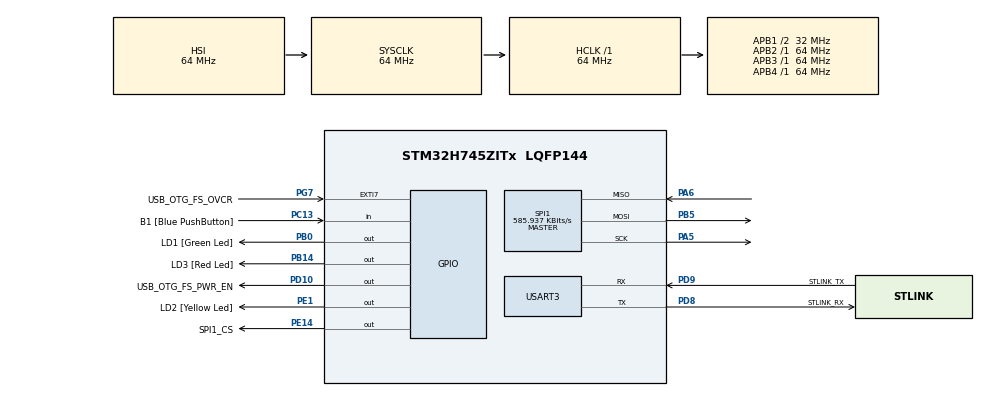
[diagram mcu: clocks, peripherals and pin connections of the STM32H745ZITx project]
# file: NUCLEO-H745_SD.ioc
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CortexM4.IPs=FATFS_M4\:I,FREERTOS_M4\:I,IWDG2\:I,RCC,WWDG2\:I,DMA,BDMA,MDMA,NVIC2\:I,USART3,ETH,DEBUG,PDM2PCM_M4\:I,PWR,RESMGR_UTILITY,SYS_M4\:I,USB_DEVICE_M4\:I,USB_HOST_M4\:I,CORTEX_M4\:I,OPENAMP_M4\:I,VREFBUF,SPI1
CortexM7.IPs=FATFS_M7\:I,FREERTOS_M7\:I,IWDG1\:I,RCC\:I,WWDG1\:I,DMA\:I,BDMA\:I,MDMA\:I,NVIC1\:I,SYS\:I,USART3\:I,USB_OTG_FS\:I,ETH\:I,CORTEX_M7\:I,DEBUG\:I,PDM2PCM_M7\:I,PWR\:I,RESMGR_UTILITY\:I,USB_DEVICE_M7\:I,USB_HOST_M7\:I,OPENAMP_M7\:I,VREFBUF\:I,SPI1\:I
FATFS_M7._MAX_SS=4096
FATFS_M7._USE_LFN=1
Mcu.Family=STM32H7
Mcu.Name=STM32H745ZITx
Mcu.Package=LQFP144
NVIC1.PriorityGroup=NVIC_PRIORITYGROUP_4
NVIC2.PriorityGroup=NVIC_PRIORITYGROUP_4
PA1.PinAttribute=CortexM7
PA1.Signal=ETH_REF_CLK
PA11.PinAttribute=CortexM7
PA11.Signal=USB_OTG_FS_DM
PA12.PinAttribute=CortexM7
PA12.Signal=USB_OTG_FS_DP
PA2.PinAttribute=CortexM7
PA2.Signal=ETH_MDIO
PA5.Mode=Full_Duplex_Master
PA5.PinAttribute=CortexM7
PA5.Signal=SPI1_SCK
PA6.Mode=Full_Duplex_Master
PA6.PinAttribute=CortexM7
PA6.Signal=SPI1_MISO
PA7.PinAttribute=CortexM7
PA7.Signal=ETH_CRS_DV
PA8.PinAttribute=CortexM7
PA8.Signal=USB_OTG_FS_SOF
PA9.PinAttribute=CortexM7
PA9.Signal=USB_OTG_FS_VBUS
PB0.GPIO_Label=LD1 [Green Led]
PB0.PinAttribute=Free
PB0.Signal=GPIO_Output
PB13.PinAttribute=CortexM7
PB13.Signal=ETH_TXD1
PB14.GPIO_Label=LD3 [Red Led]
PB14.PinAttribute=Free
PB14.Signal=GPIO_Output
PB5.Mode=Full_Duplex_Master
PB5.PinAttribute=CortexM7
PB5.Signal=SPI1_MOSI
PC1.PinAttribute=CortexM7
PC1.Signal=ETH_MDC
PC13.GPIO_Label=B1 [Blue PushButton]
PC13.PinAttribute=Free
PC13.Signal=GPIO_Input
PC14-OSC32_IN\ (OSC32_IN).PinAttribute=CortexM7
PC14-OSC32_IN\ (OSC32_IN).Signal=RCC_OSC32_IN
PC15-OSC32_OUT\ (OSC32_OUT).PinAttribute=CortexM7
PC15-OSC32_OUT\ (OSC32_OUT).Signal=RCC_OSC32_OUT
PC4.PinAttribute=CortexM7
PC4.Signal=ETH_RXD0
PC5.PinAttribute=CortexM7
PC5.Signal=ETH_RXD1
PD10.GPIO_Label=USB_OTG_FS_PWR_EN
PD10.PinAttribute=Free
PD10.Signal=GPIO_Output
PD8.GPIO_Label=STLINK_RX
PD8.Mode=Asynchronous
PD8.PinAttribute=CortexM7
PD8.Signal=USART3_TX
PD9.GPIO_Label=STLINK_TX
PD9.Mode=Asynchronous
PD9.PinAttribute=CortexM7
PD9.Signal=USART3_RX
PE1.GPIO_Label=LD2 [Yellow Led]
PE1.PinAttribute=Free
PE1.Signal=GPIO_Output
PE14.GPIO_Label=SPI1_CS
PE14.GPIO_Speed=GPIO_SPEED_FREQ_MEDIUM
PE14.PinAttribute=Free
PE14.PinState=GPIO_PIN_SET
PE14.Signal=GPIO_Output
PG11.PinAttribute=CortexM7
PG11.Signal=ETH_TX_EN
PG13.PinAttribute=CortexM7
PG13.Signal=ETH_TXD0
PG7.GPIO_Label=USB_OTG_FS_OVCR
PG7.PinAttribute=Free
PG7.Signal=GPXTI7
PH0-OSC_IN\ (PH0).PinAttribute=CortexM7
PH0-OSC_IN\ (PH0).Signal=RCC_OSC_IN
PH1-OSC_OUT\ (PH1).PinAttribute=CortexM7
PH1-OSC_OUT\ (PH1).Signal=RCC_OSC_OUT
ProjectManager.HeapSize=M4-0x200,M7-0x200
ProjectManager.StackSize=M4-0x400,M7-0x400
ProjectManager.TargetToolchain=MDK-ARM V5.32
RCC.ADCFreq_Value=129000000
RCC.APB1Freq_Value=32000000
RCC.APB2Freq_Value=64000000
RCC.APB3Freq_Value=64000000
RCC.APB4Freq_Value=64000000
RCC.CortexFreq_Value=64000000
RCC.D2PPRE1=RCC_APB1_DIV2
RCC.DIVM1=4
RCC.DIVM3=22
RCC.DIVN1=9
RCC.DIVN3=169
RCC.DIVQ3=4
RCC.HCLKFreq_Value=64000000
RCC.PLL2FRACN=0
RCC.PLL3FRACN=0
RCC.PLLFRACN=3072
RCC.SYSCLKFreq_VALUE=64000000
RCC.SupplySource=PWR_DIRECT_SMPS_SUPPLY
RCC.USBCLockSelection=RCC_USBCLKSOURCE_PLL3
RCC.USBFreq_Value=122909090.9090909
SPI1.BaudRatePrescaler=SPI_BAUDRATEPRESCALER_128
SPI1.CalculateBaudRate=585.937 KBits/s
SPI1.DataSize=SPI_DATASIZE_8BIT
SPI1.Direction=SPI_DIRECTION_2LINES
SPI1.Mode=SPI_MODE_MASTER
SPI1.VirtualType=VM_MASTER
USART3.VirtualMode-Asynchronous=VM_ASYNC
VP_FATFS_M7_VS_Generic.Mode=User_defined
VP_SYS_M4_VS_Systick.Mode=SysTick
board=NUCLEO-H745ZI-Q

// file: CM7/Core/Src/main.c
/* USER CODE BEGIN Header */
/**
  ******************************************************************************
  * @file           : main.c
  * @brief          : Main program body
  ******************************************************************************
  * @attention
  *
  * Copyright (c) 2024 STMicroelectronics.
  * All rights reserved.
  *
  * This software is licensed under terms that can be found in the LICENSE file
  * in the root directory of this software component.
  * If no LICENSE file comes with this software, it is provided AS-IS.
  *
  ******************************************************************************
  */
/* USER CODE END Header */
#include "main.h"
#include "fatfs.h"
#include "fatfs_sd.h"
#include "string.h"
#include "stdio.h"

/* USER CODE BEGIN PD */

//SPI_HandleTypeDef hspi1;
FATFS fs;
FATFS *pfs;
FIL fil;
FRESULT fres;
DWORD fre_clust;
uint32_t totalSpace, freeSpace;
char buffer[100];

#ifndef HSEM_ID_0
#define HSEM_ID_0 (0U) /* HW semaphore 0*/
#endif
/* USER CODE END PD */

SPI_HandleTypeDef hspi1;

UART_HandleTypeDef huart3;

void SystemClock_Config(void);
static void MX_GPIO_Init(void);
static void MX_SPI1_Init(void);
static void MX_USART3_UART_Init(void);

/* USER CODE BEGIN 0 */
void transmit_uart(char *string)
{
	uint8_t len = strlen(string);
	HAL_UART_Transmit(&huart3, (uint8_t*) string, len, 200);
}
/* USER CODE END 0 */

int main(void)
{
/* USER CODE BEGIN Boot_Mode_Sequence_0 */
  int32_t timeout;
/* USER CODE END Boot_Mode_Sequence_0 */

/* USER CODE BEGIN Boot_Mode_Sequence_1 */
  /* Wait until CPU2 boots and enters in stop mode or timeout*/
  timeout = 0xFFFF;
  while((__HAL_RCC_GET_FLAG(RCC_FLAG_D2CKRDY) != RESET) && (timeout-- > 0));
  if ( timeout < 0 )
  {
  Error_Handler();
  }
/* USER CODE END Boot_Mode_Sequence_1 */
  /* MCU Configuration--------------------------------------------------------*/

  /* Reset of all peripherals, Initializes the Flash interface and the Systick. */
  HAL_Init();

  /* USER CODE BEGIN Init */
// sending to UART

  /* USER CODE END Init */

  /* Configure the system clock */
  SystemClock_Config();
/* USER CODE BEGIN Boot_Mode_Sequence_2 */
/* When system initialization is finished, Cortex-M7 will release Cortex-M4 by means of
HSEM notification */
/*HW semaphore Clock enable*/
__HAL_RCC_HSEM_CLK_ENABLE();
/*Take HSEM */
HAL_HSEM_FastTake(HSEM_ID_0);
/*Release HSEM in order to notify the CPU2(CM4)*/
HAL_HSEM_Release(HSEM_ID_0,0);
/* wait until CPU2 wakes up from stop mode */
timeout = 0xFFFF;
while((__HAL_RCC_GET_FLAG(RCC_FLAG_D2CKRDY) == RESET) && (timeout-- > 0));
if ( timeout < 0 )
{
Error_Handler();
}
/* USER CODE END Boot_Mode_Sequence_2 */

  /* Initialize all configured peripherals */
  MX_GPIO_Init();
  MX_SPI1_Init();
  MX_USART3_UART_Init();
  MX_FATFS_Init();

  /* USER CODE BEGIN 2 */
	/* Waiting for the Micro SD module to initialize */
	HAL_Delay(500);

	fres = f_mount(&fs, "", 0);
	if (fres == FR_OK) {
		transmit_uart("Micro SD card is mounted successfully!\n");
	} else if (fres != FR_OK) {
		transmit_uart("Micro SD card's mount error!\n");
	}

	// FA_OPEN_APPEND opens file if it exists and if not then creates it,
	// the pointer is set at the end of the file for appending
	fres = f_open(&fil, "log-file.txt", FA_OPEN_APPEND | FA_WRITE | FA_READ);
	if (fres == FR_OK) {
		transmit_uart("File opened for reading and checking the free space.\n");
	} else if (fres != FR_OK) {
		transmit_uart("File was not opened for reading and checking the free space!\n");
	}

	fres = f_getfree("", &fre_clust, &pfs);
	totalSpace = (uint32_t) ((pfs->n_fatent - 2) * pfs->csize * 0.5);
	freeSpace = (uint32_t) (fre_clust * pfs->csize * 0.5);
	char mSz[12];
	sprintf(mSz, "%lu", freeSpace);
	if (fres == FR_OK) {
		transmit_uart("The free space is: ");
		transmit_uart(mSz);
		transmit_uart("\n");
	} else if (fres != FR_OK) {
		transmit_uart("The free space could not be determined!\n");
	}

	for (uint8_t i = 0; i < 10; i++) {
		f_puts("This text is written in the file.\n", &fil);
	}

	fres = f_close(&fil);
	if (fres == FR_OK) {
		transmit_uart("The file is closed.\n");
	} else if (fres != FR_OK) {
		transmit_uart("The file was not closed.\n");
	}

	/* Open file to read */
	fres = f_open(&fil, "log-file.txt", FA_READ);
	if (fres == FR_OK) {
		transmit_uart("File opened for reading.\n");
	} else if (fres != FR_OK) {
		transmit_uart("File was not opened for reading!\n");
	}

	while (f_gets(buffer, sizeof(buffer), &fil)) {
		char mRd[100];
		sprintf(mRd, "%s", buffer);
		transmit_uart(mRd);

	}

	/* Close file */
	fres = f_close(&fil);
	if (fres == FR_OK) {
		transmit_uart("The file is closed.\n");
	} else if (fres != FR_OK) {
		transmit_uart("The file was not closed.\n");
	}

	f_mount(NULL, "", 1);
	if (fres == FR_OK) {
		transmit_uart("The Micro SD card is unmounted!\n");
	} else if (fres != FR_OK) {
		transmit_uart("The Micro SD was not unmounted!");
	}
  /* USER CODE END 2 */

  /* Infinite loop */
  while (1)
  {

  }
}

void SystemClock_Config(void)
{
  RCC_OscInitTypeDef RCC_OscInitStruct = {0};
  RCC_ClkInitTypeDef RCC_ClkInitStruct = {0};

  /** Supply configuration update enable
  */
  HAL_PWREx_ConfigSupply(PWR_DIRECT_SMPS_SUPPLY);
  /** Configure the main internal regulator output voltage
  */
  __HAL_PWR_VOLTAGESCALING_CONFIG(PWR_REGULATOR_VOLTAGE_SCALE3);

  while(!__HAL_PWR_GET_FLAG(PWR_FLAG_VOSRDY)) {}
  /** Initializes the RCC Oscillators according to the specified parameters
  * in the RCC_OscInitTypeDef structure.
  */
  RCC_OscInitStruct.OscillatorType = RCC_OSCILLATORTYPE_HSI;
  RCC_OscInitStruct.HSIState = RCC_HSI_DIV1;
  RCC_OscInitStruct.HSICalibrationValue = RCC_HSICALIBRATION_DEFAULT;
  RCC_OscInitStruct.PLL.PLLState = RCC_PLL_ON;
  RCC_OscInitStruct.PLL.PLLSource = RCC_PLLSOURCE_HSI;
  RCC_OscInitStruct.PLL.PLLM = 4;
  RCC_OscInitStruct.PLL.PLLN = 9;
  RCC_OscInitStruct.PLL.PLLP = 2;
  RCC_OscInitStruct.PLL.PLLQ = 2;
  RCC_OscInitStruct.PLL.PLLR = 2;
  RCC_OscInitStruct.PLL.PLLRGE = RCC_PLL1VCIRANGE_3;
  RCC_OscInitStruct.PLL.PLLVCOSEL = RCC_PLL1VCOMEDIUM;
  RCC_OscInitStruct.PLL.PLLFRACN = 3072;
  if (HAL_RCC_OscConfig(&RCC_OscInitStruct) != HAL_OK)
  {
    Error_Handler();
  }
  /** Initializes the CPU, AHB and APB buses clocks
  */
  RCC_ClkInitStruct.ClockType = RCC_CLOCKTYPE_HCLK|RCC_CLOCKTYPE_SYSCLK
                              |RCC_CLOCKTYPE_PCLK1|RCC_CLOCKTYPE_PCLK2
                              |RCC_CLOCKTYPE_D3PCLK1|RCC_CLOCKTYPE_D1PCLK1;
  RCC_ClkInitStruct.SYSCLKSource = RCC_SYSCLKSOURCE_HSI;
  RCC_ClkInitStruct.SYSCLKDivider = RCC_SYSCLK_DIV1;
  RCC_ClkInitStruct.AHBCLKDivider = RCC_HCLK_DIV1;
  RCC_ClkInitStruct.APB3CLKDivider = RCC_APB3_DIV1;
  RCC_ClkInitStruct.APB1CLKDivider = RCC_APB1_DIV2;
  RCC_ClkInitStruct.APB2CLKDivider = RCC_APB2_DIV1;
  RCC_ClkInitStruct.APB4CLKDivider = RCC_APB4_DIV1;

  if (HAL_RCC_ClockConfig(&RCC_ClkInitStruct, FLASH_LATENCY_1) != HAL_OK)
  {
    Error_Handler();
  }
}

static void MX_SPI1_Init(void)
{

  /* SPI1 parameter configuration*/
  hspi1.Instance = SPI1;
  hspi1.Init.Mode = SPI_MODE_MASTER;
  hspi1.Init.Direction = SPI_DIRECTION_2LINES;
  hspi1.Init.DataSize = SPI_DATASIZE_8BIT;
  hspi1.Init.CLKPolarity = SPI_POLARITY_LOW;
  hspi1.Init.CLKPhase = SPI_PHASE_1EDGE;
  hspi1.Init.NSS = SPI_NSS_SOFT;
  hspi1.Init.BaudRatePrescaler = SPI_BAUDRATEPRESCALER_128;
  hspi1.Init.FirstBit = SPI_FIRSTBIT_MSB;
  hspi1.Init.TIMode = SPI_TIMODE_DISABLE;
  hspi1.Init.CRCCalculation = SPI_CRCCALCULATION_DISABLE;
  hspi1.Init.CRCPolynomial = 0x0;
  hspi1.Init.NSSPMode = SPI_NSS_PULSE_ENABLE;
  hspi1.Init.NSSPolarity = SPI_NSS_POLARITY_LOW;
  hspi1.Init.FifoThreshold = SPI_FIFO_THRESHOLD_01DATA;
  hspi1.Init.TxCRCInitializationPattern = SPI_CRC_INITIALIZATION_ALL_ZERO_PATTERN;
  hspi1.Init.RxCRCInitializationPattern = SPI_CRC_INITIALIZATION_ALL_ZERO_PATTERN;
  hspi1.Init.MasterSSIdleness = SPI_MASTER_SS_IDLENESS_00CYCLE;
  hspi1.Init.MasterInterDataIdleness = SPI_MASTER_INTERDATA_IDLENESS_00CYCLE;
  hspi1.Init.MasterReceiverAutoSusp = SPI_MASTER_RX_AUTOSUSP_DISABLE;
  hspi1.Init.MasterKeepIOState = SPI_MASTER_KEEP_IO_STATE_DISABLE;
  hspi1.Init.IOSwap = SPI_IO_SWAP_DISABLE;
  if (HAL_SPI_Init(&hspi1) != HAL_OK)
  {
    Error_Handler();
  }

}

static void MX_USART3_UART_Init(void)
{

  huart3.Instance = USART3;
  huart3.Init.BaudRate = 115200;
  huart3.Init.WordLength = UART_WORDLENGTH_8B;
  huart3.Init.StopBits = UART_STOPBITS_1;
  huart3.Init.Parity = UART_PARITY_NONE;
  huart3.Init.Mode = UART_MODE_TX_RX;
  huart3.Init.HwFlowCtl = UART_HWCONTROL_NONE;
  huart3.Init.OverSampling = UART_OVERSAMPLING_16;
  huart3.Init.OneBitSampling = UART_ONE_BIT_SAMPLE_DISABLE;
  huart3.Init.ClockPrescaler = UART_PRESCALER_DIV1;
  huart3.AdvancedInit.AdvFeatureInit = UART_ADVFEATURE_NO_INIT;
  if (HAL_UART_Init(&huart3) != HAL_OK)
  {
    Error_Handler();
  }
  if (HAL_UARTEx_SetTxFifoThreshold(&huart3, UART_TXFIFO_THRESHOLD_1_8) != HAL_OK)
  {
    Error_Handler();
  }
  if (HAL_UARTEx_SetRxFifoThreshold(&huart3, UART_RXFIFO_THRESHOLD_1_8) != HAL_OK)
  {
    Error_Handler();
  }
  if (HAL_UARTEx_DisableFifoMode(&huart3) != HAL_OK)
  {
    Error_Handler();
  }

}

static void MX_GPIO_Init(void)
{
  GPIO_InitTypeDef GPIO_InitStruct = {0};

  /* GPIO Ports Clock Enable */
  __HAL_RCC_GPIOC_CLK_ENABLE();
  __HAL_RCC_GPIOH_CLK_ENABLE();
  __HAL_RCC_GPIOA_CLK_ENABLE();
  __HAL_RCC_GPIOB_CLK_ENABLE();
  __HAL_RCC_GPIOD_CLK_ENABLE();
  __HAL_RCC_GPIOG_CLK_ENABLE();
	__HAL_RCC_GPIOE_CLK_ENABLE();

	/*Configure GPIO pins : PE14 */
  GPIO_InitStruct.Pin = GPIO_PIN_14;
  GPIO_InitStruct.Mode = GPIO_MODE_OUTPUT_PP;
  GPIO_InitStruct.Pull = GPIO_NOPULL;
  GPIO_InitStruct.Speed = GPIO_SPEED_FREQ_MEDIUM;
  HAL_GPIO_Init(GPIOE, &GPIO_InitStruct);

  /*Configure GPIO pins : PC1 PC4 PC5 */
  GPIO_InitStruct.Pin = GPIO_PIN_1|GPIO_PIN_4|GPIO_PIN_5;
  GPIO_InitStruct.Mode = GPIO_MODE_AF_PP;
  GPIO_InitStruct.Pull = GPIO_NOPULL;
  GPIO_InitStruct.Speed = GPIO_SPEED_FREQ_LOW;
  GPIO_InitStruct.Alternate = GPIO_AF11_ETH;
  HAL_GPIO_Init(GPIOC, &GPIO_InitStruct);

  /*Configure GPIO pins : PA1 PA2 PA7 */
  GPIO_InitStruct.Pin = GPIO_PIN_1|GPIO_PIN_2|GPIO_PIN_7;
  GPIO_InitStruct.Mode = GPIO_MODE_AF_PP;
  GPIO_InitStruct.Pull = GPIO_NOPULL;
  GPIO_InitStruct.Speed = GPIO_SPEED_FREQ_LOW;
  GPIO_InitStruct.Alternate = GPIO_AF11_ETH;
  HAL_GPIO_Init(GPIOA, &GPIO_InitStruct);

  /*Configure GPIO pin : PB13 */
  GPIO_InitStruct.Pin = GPIO_PIN_13;
  GPIO_InitStruct.Mode = GPIO_MODE_AF_PP;
  GPIO_InitStruct.Pull = GPIO_NOPULL;
  GPIO_InitStruct.Speed = GPIO_SPEED_FREQ_LOW;
  GPIO_InitStruct.Alternate = GPIO_AF11_ETH;
  HAL_GPIO_Init(GPIOB, &GPIO_InitStruct);

  /*Configure GPIO pins : PA8 PA11 PA12 */
  GPIO_InitStruct.Pin = GPIO_PIN_8|GPIO_PIN_11|GPIO_PIN_12;
  GPIO_InitStruct.Mode = GPIO_MODE_AF_PP;
  GPIO_InitStruct.Pull = GPIO_NOPULL;
  GPIO_InitStruct.Speed = GPIO_SPEED_FREQ_LOW;
  GPIO_InitStruct.Alternate = GPIO_AF10_OTG1_FS;
  HAL_GPIO_Init(GPIOA, &GPIO_InitStruct);

  /*Configure GPIO pins : PG11 PG13 */
  GPIO_InitStruct.Pin = GPIO_PIN_11|GPIO_PIN_13;
  GPIO_InitStruct.Mode = GPIO_MODE_AF_PP;
  GPIO_InitStruct.Pull = GPIO_NOPULL;
  GPIO_InitStruct.Speed = GPIO_SPEED_FREQ_LOW;
  GPIO_InitStruct.Alternate = GPIO_AF11_ETH;
  HAL_GPIO_Init(GPIOG, &GPIO_InitStruct);

}

void Error_Handler(void)
{
  __disable_irq();
  while (1)
  {
  }
}
